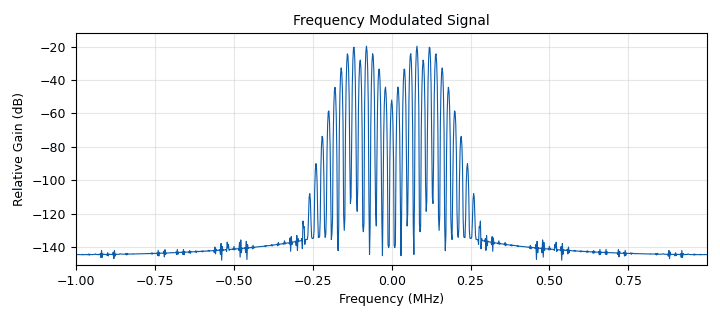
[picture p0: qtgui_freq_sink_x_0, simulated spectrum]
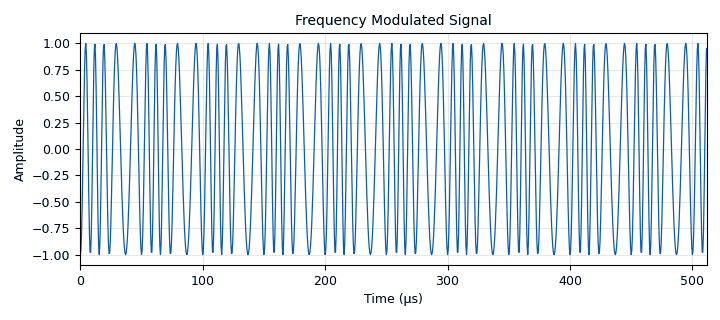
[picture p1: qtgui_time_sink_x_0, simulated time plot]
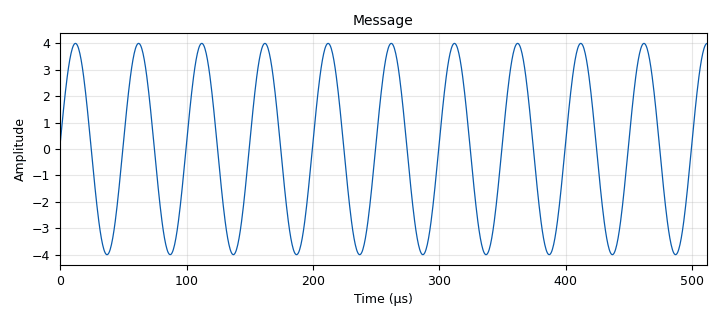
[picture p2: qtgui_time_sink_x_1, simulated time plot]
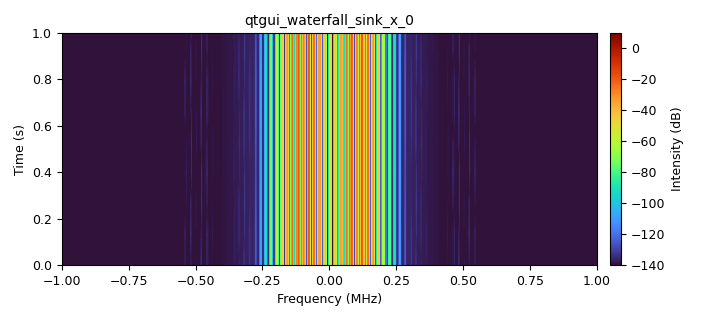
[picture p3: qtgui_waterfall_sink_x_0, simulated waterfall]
options:
  parameters:
    author: ipsit
    description: Frequency Modulator
    generate_options: qt_gui
    id: lab2_task3
    output_language: python
    title: Lab 2 Task 3
  states: {}

blocks:
- name: samp_rate
  id: variable
  parameters:
    value: '2000000'
  states: {}
- name: analog_phase_modulator_fc_0
  id: analog_phase_modulator_fc
  parameters:
    sensitivity: '62831.85307'
  states: {}
- name: analog_sig_source_x_0
  id: analog_sig_source_x
  parameters:
    amp: '4'
    freq: '20000'
    offset: '0'
    phase: '0'
    samp_rate: samp_rate
    type: float
    waveform: analog.GR_COS_WAVE
  states: {}
- name: analog_sig_source_x_1
  id: analog_sig_source_x
  parameters:
    amp: '1'
    freq: '100000'
    offset: '0'
    phase: '0'
    samp_rate: samp_rate
    type: complex
    waveform: analog.GR_COS_WAVE
  states: {}
- name: blocks_complex_to_real_0
  id: blocks_complex_to_real
  parameters: {}
  states: {}
- name: blocks_multiply_xx_0
  id: blocks_multiply_xx
  parameters:
    type: complex
  states: {}
- name: blocks_throttle_0
  id: blocks_throttle
  parameters:
    samples_per_second: samp_rate
    type: float
  states: {}
- name: iir_filter_xxx_0
  id: iir_filter_xxx
  parameters:
    fbtaps: '[1,1]'
    fftaps: 1/samp_rate
    type: ffd
  states: {}
- name: qtgui_freq_sink_x_0
  id: qtgui_freq_sink_x
  parameters:
    autoscale: 'True'
    bw: samp_rate
    fc: '0'
    fftsize: '1024'
    gui_hint: tab@0
    name: Frequency Modulated Signal
    type: float
    wintype: firdes.WIN_BLACKMAN_hARRIS
    ymin: '-120'
  states: {}
- name: qtgui_time_sink_x_0
  id: qtgui_time_sink_x
  parameters:
    autoscale: 'True'
    gui_hint: tab@2
    name: Frequency Modulated Signal
    size: '1024'
    srate: samp_rate
    type: float
  states: {}
- name: qtgui_time_sink_x_1
  id: qtgui_time_sink_x
  parameters:
    autoscale: 'True'
    name: Message
    size: '1024'
    srate: samp_rate
    type: float
  states: {}
- name: qtgui_waterfall_sink_x_0
  id: qtgui_waterfall_sink_x
  parameters:
    bw: samp_rate
    fc: '0'
    fftsize: '1024'
    gui_hint: tab@1
    type: float
    wintype: firdes.WIN_BLACKMAN_hARRIS
  states: {}
- name: tab
  id: qtgui_tab_widget
  parameters:
    label0: Frequency
    label1: Waterfall
    label2: Time
    num_tabs: '3'
  states: {}

connections:
- [analog_phase_modulator_fc_0, '0', blocks_multiply_xx_0, '0']
- [analog_sig_source_x_0, '0', iir_filter_xxx_0, '0']
- [analog_sig_source_x_0, '0', qtgui_time_sink_x_1, '0']
- [analog_sig_source_x_1, '0', blocks_multiply_xx_0, '1']
- [blocks_complex_to_real_0, '0', blocks_throttle_0, '0']
- [blocks_multiply_xx_0, '0', blocks_complex_to_real_0, '0']
- [blocks_throttle_0, '0', qtgui_freq_sink_x_0, '0']
- [blocks_throttle_0, '0', qtgui_time_sink_x_0, '0']
- [blocks_throttle_0, '0', qtgui_waterfall_sink_x_0, '0']
- [iir_filter_xxx_0, '0', analog_phase_modulator_fc_0, '0']

metadata:
  file_format: 1
